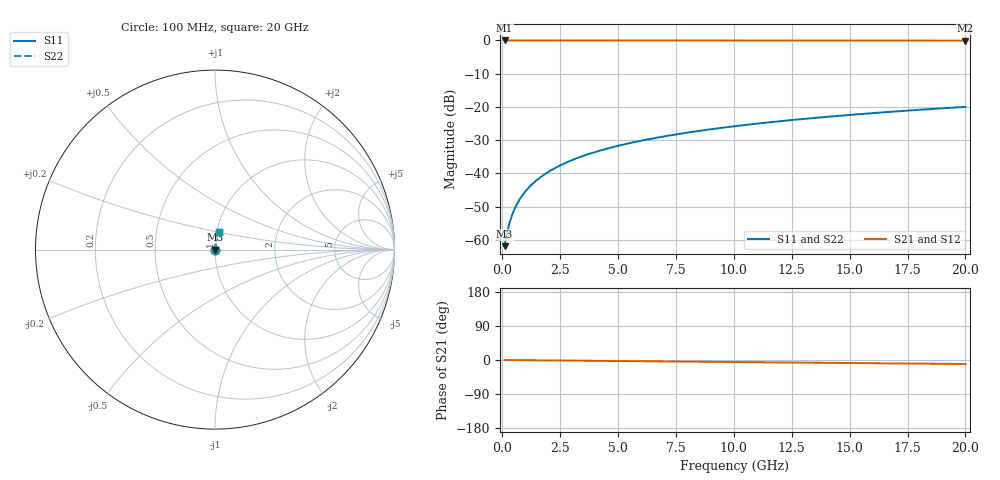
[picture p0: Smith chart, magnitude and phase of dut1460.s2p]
! Touchstone file exported from HFSS 2026.1.0
!  File:  C:/ffzhzh/LocalFiles/Ansys_Project_Files/temp_train_TSV_1460_1783198120_55132.aedt
!  Generated:  04:50:52 AM Jul  5, 2026
!  Design:  TSV
!  Project:  temp_train_TSV_1460_1783198120_55132
! Variables:
!  h_bsmrdl = 2um
!  h_ox = 20um
!  h_rdl = 5um
!  h_sub = 87.84um
!  h_tmrdl = 5um
!  h_tsv = 87.84um
!  h_via = 3um
!  l_bsmrdl = 300um
!  l_sub = 408.42um
!  l_tmrdl = 200um
!  m_sub = 200um
!  pitch = 44.81um
!  r_tsv = 4.21um
!  s_tmrdl = 10um
!  w_bsmrdl = 18um
!  w_sub = 500um
!  w_tmrdl = 12um
!  x_tsv_center1 = 206um
!  x_tsv_center2 = 524um
!  x_tsv_center3 = 736um
!  x_tsv_center4 = 1054um
!  x_tsv_center5 = 1266um
!  x_tsv_center6 = 1584um
# GHz S MA R 50.000000
! Terminal data exported
! Port[1] = TSV1_1_T1
! Port[2] = TSV1_1_T2
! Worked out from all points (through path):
!   200 points, 100 MHz to 20 GHz, reference 50 ohm
!   highest |S21| = -0.01 dB at 100 MHz (marker M1); lowest = -0.1 dB at 20 GHz (marker M2)
!   group delay of S21, straight-line fit = 1.47 ps
!   lowest |S11| = -61.9 dB at 100 MHz (marker M3), VSWR 1.00, Z = 50.1 + j0.0547 ohm
!   |S11| at or under -10 dB: start of sweep to end of sweep
!   |S22| runs from -61.9 to -20.0 dB; largest |S21 - S12| = 5.2e-15
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0.1  0.0008075 42.6  0.9994 -0.1  0.9994 -0.1  0.0008075 42.6
! Gamma 0 0 0 0
! Port Impedance 50 0 50 0
0.2  0.001247 60.9  0.9994 -0.1  0.9994 -0.1  0.001247 60.9
0.3  0.001742 69.1  0.9994 -0.2  0.9994 -0.2  0.001742 69.1
0.4  0.002254 73.6  0.9994 -0.2  0.9994 -0.2  0.002254 73.6
0.5  0.002771 76.3  0.9994 -0.3  0.9994 -0.3  0.002771 76.3
0.6  0.003291 78.2  0.9993 -0.3  0.9993 -0.3  0.003291 78.2
0.8  0.004334 80.6  0.9993 -0.4  0.9993 -0.4  0.004334 80.6
1.1  0.005905 82.5  0.9993 -0.6  0.9993 -0.6  0.005905 82.5
1.5  0.008002 83.8  0.9992 -0.8  0.9992 -0.8  0.008002 83.8
1.8  0.009573 84.3  0.9992 -1.0  0.9992 -1.0  0.009573 84.3
2.1  0.01114 84.6  0.9991 -1.1  0.9991 -1.1  0.01114 84.6
2.7  0.01427 84.8  0.999 -1.5  0.999 -1.5  0.01427 84.8
3.5  0.0184 84.8  0.9988 -1.9  0.9988 -1.9  0.0184 84.8
4.2  0.02199 84.7  0.9986 -2.3  0.9986 -2.3  0.02199 84.7
5  0.02607 84.4  0.9984 -2.7  0.9984 -2.7  0.02607 84.4
5.9  0.03063 84.1  0.9981 -3.2  0.9981 -3.2  0.03063 84.1
6.8  0.03516 83.8  0.9978 -3.7  0.9978 -3.7  0.03516 83.8
8.3  0.04268 83.2  0.9973 -4.5  0.9973 -4.5  0.04268 83.2
10.1  0.05165 82.5  0.9967 -5.4  0.9967 -5.4  0.05165 82.4
13.4  0.06801 81.0  0.9955 -7.1  0.9955 -7.1  0.06801 81.0
16.7  0.08422 79.4  0.994 -8.9  0.994 -8.9  0.08422 79.4
20  0.1003 77.9  0.9923 -10.6  0.9923 -10.6  0.1003 77.9
